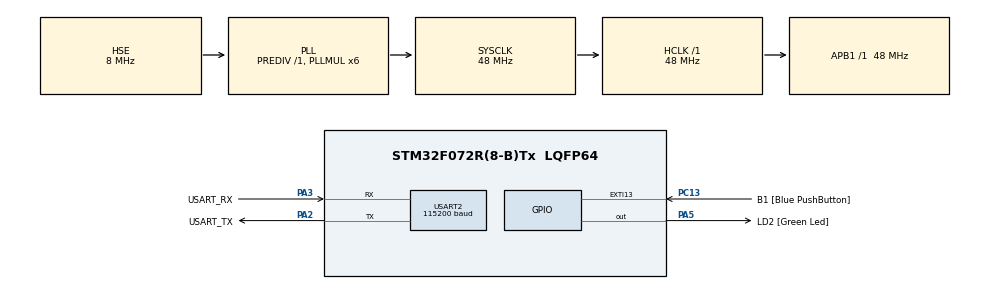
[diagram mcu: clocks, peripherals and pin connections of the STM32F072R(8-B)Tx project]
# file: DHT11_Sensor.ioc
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Mcu.Family=STM32F0
Mcu.Name=STM32F072R(8-B)Tx
Mcu.Package=LQFP64
PA13.GPIO_Label=TMS
PA13.Mode=Serial_Wire
PA13.Signal=SYS_SWDIO
PA14.GPIO_Label=TCK
PA14.Mode=Serial_Wire
PA14.Signal=SYS_SWCLK
PA2.GPIO_Label=USART_TX
PA2.GPIO_Mode=GPIO_MODE_AF_PP
PA2.GPIO_PuPd=GPIO_NOPULL
PA2.GPIO_Speed=GPIO_SPEED_FREQ_LOW
PA2.Mode=Asynchronous
PA2.Signal=USART2_TX
PA3.GPIO_Label=USART_RX
PA3.GPIO_Mode=GPIO_MODE_AF_PP
PA3.GPIO_PuPd=GPIO_NOPULL
PA3.GPIO_Speed=GPIO_SPEED_FREQ_LOW
PA3.Mode=Asynchronous
PA3.Signal=USART2_RX
PA5.GPIO_Label=LD2 [Green Led]
PA5.GPIO_Mode=GPIO_MODE_OUTPUT_PP
PA5.GPIO_PuPd=GPIO_NOPULL
PA5.GPIO_Speed=GPIO_SPEED_FREQ_LOW
PA5.Signal=GPIO_Output
PC13.GPIO_Label=B1 [Blue PushButton]
PC13.GPIO_ModeDefaultEXTI=GPIO_MODE_IT_FALLING
PC13.Signal=GPXTI13
PC14-OSC32_IN.Mode=LSE-External-Oscillator
PC14-OSC32_IN.Signal=RCC_OSC32_IN
PC15-OSC32_OUT.Mode=LSE-External-Oscillator
PC15-OSC32_OUT.Signal=RCC_OSC32_OUT
PF0-OSC_IN.Mode=HSE-External-Oscillator
PF0-OSC_IN.Signal=RCC_OSC_IN
PF1-OSC_OUT.Mode=HSE-External-Oscillator
PF1-OSC_OUT.Signal=RCC_OSC_OUT
ProjectManager.HeapSize=0x200
ProjectManager.StackSize=0x400
ProjectManager.TargetToolchain=STM32CubeIDE
RCC.AHBFreq_Value=48000000
RCC.APB1Freq_Value=48000000
RCC.APB1TimFreq_Value=48000000
RCC.FLatency-AdvancedSettings=FLASH_LATENCY_1
RCC.HCLKFreq_Value=48000000
RCC.PLLMUL=RCC_PLL_MUL6
RCC.PLLSourceVirtual=RCC_PLLSOURCE_HSE
RCC.PREFETCH_ENABLE-AdvancedSettings=1
RCC.SYSCLKFreq_VALUE=48000000
RCC.SYSCLKSource=RCC_SYSCLKSOURCE_PLLCLK
USART2.BaudRate=115200
USART2.VirtualMode=VM_ASYNC
USART2.VirtualMode-Asynchronous=VM_ASYNC
VP_TIM6_VS_ClockSourceINT.Mode=Enable_Timer
board=NUCLEO-F072RB

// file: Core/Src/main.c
/* USER CODE BEGIN Header */
/**
  ******************************************************************************
  * @file           : main.c
  * @brief          : Main program body
  ******************************************************************************
  * @attention
  *
  * Copyright (c) 2024 STMicroelectronics.
  * All rights reserved.
  *
  * This software is licensed under terms that can be found in the LICENSE file
  * in the root directory of this software component.
  * If no LICENSE file comes with this software, it is provided AS-IS.
  *
  ******************************************************************************
  */
/* USER CODE END Header */
#include "main.h"

/* USER CODE BEGIN Includes */
#include "stdio.h"
#include "string.h"
#include "dht11.h"
#include "Timer_Delay.h"
/* USER CODE END Includes */

TIM_HandleTypeDef htim6;

UART_HandleTypeDef huart2;

void SystemClock_Config(void);
static void MX_GPIO_Init(void);
static void MX_USART2_UART_Init(void);
static void MX_TIM6_Init(void);
/* USER CODE BEGIN PFP */

#define PUTCHAR_PROTOTYPE int __io_putchar(int ch)             /* For Printf & Scanf */
#define GETCHAR_PROTOTYPE int __io_getchar(void)

PUTCHAR_PROTOTYPE {
    HAL_UART_Transmit(&huart2, (uint8_t *)&ch, 1, HAL_MAX_DELAY);
    return ch;
}

GETCHAR_PROTOTYPE {
    uint8_t ch = 0;
    __HAL_UART_CLEAR_OREFLAG(&huart2);
    HAL_UART_Receive(&huart2, (uint8_t *)&ch, 1, HAL_MAX_DELAY);
    HAL_UART_Transmit(&huart2, (uint8_t *)&ch, 1, HAL_MAX_DELAY);
    return ch;
}

/* USER CODE END PFP */

int main(void)
{

  /* USER CODE BEGIN 1 */
	setvbuf(stdin, NULL, _IONBF, 0);     /* For Printf & Scanf */

	uint16_t temp=0, humid=0;
	dht11_status_t ret;

  /* USER CODE END 1 */

  /* MCU Configuration--------------------------------------------------------*/

  /* Reset of all peripherals, Initializes the Flash interface and the Systick. */
  HAL_Init();

  /* Configure the system clock */
  SystemClock_Config();

  /* Initialize all configured peripherals */
  MX_GPIO_Init();
  MX_USART2_UART_Init();
  MX_TIM6_Init();                     /* Timer */
  /* USER CODE BEGIN 2 */
  TimerDelay_Init();                  /* For Delay */
  printf("DHT11_Sensor_Start\r\n");
  /* USER CODE END 2 */

  /* Infinite loop */
  while (1)
  {

    /* USER CODE BEGIN 3 */
	  ret = read_dht11_sensor(&temp, &humid);
	  if(ret==DHT11_OK)
	  {
		   printf("\r\nTemperature : %.2f°C   Humidity : %d%%\r\n",(temp/100.0),(humid/100));
	  }
	  else
	  {
		  printf("Transmission Error\r\n");
	  }
	  HAL_Delay(2500);
  }
  /* USER CODE END 3 */
}

void SystemClock_Config(void)
{
  RCC_OscInitTypeDef RCC_OscInitStruct = {0};
  RCC_ClkInitTypeDef RCC_ClkInitStruct = {0};
  RCC_PeriphCLKInitTypeDef PeriphClkInit = {0};

  /** Initializes the RCC Oscillators according to the specified parameters
  * in the RCC_OscInitTypeDef structure.
  */
  RCC_OscInitStruct.OscillatorType = RCC_OSCILLATORTYPE_HSE;
  RCC_OscInitStruct.HSEState = RCC_HSE_ON;
  RCC_OscInitStruct.PLL.PLLState = RCC_PLL_ON;
  RCC_OscInitStruct.PLL.PLLSource = RCC_PLLSOURCE_HSE;
  RCC_OscInitStruct.PLL.PLLMUL = RCC_PLL_MUL6;
  RCC_OscInitStruct.PLL.PREDIV = RCC_PREDIV_DIV1;
  if (HAL_RCC_OscConfig(&RCC_OscInitStruct) != HAL_OK)
  {
    Error_Handler();
  }
  /** Initializes the CPU, AHB and APB buses clocks
  */
  RCC_ClkInitStruct.ClockType = RCC_CLOCKTYPE_HCLK|RCC_CLOCKTYPE_SYSCLK
                              |RCC_CLOCKTYPE_PCLK1;
  RCC_ClkInitStruct.SYSCLKSource = RCC_SYSCLKSOURCE_PLLCLK;
  RCC_ClkInitStruct.AHBCLKDivider = RCC_SYSCLK_DIV1;
  RCC_ClkInitStruct.APB1CLKDivider = RCC_HCLK_DIV1;

  if (HAL_RCC_ClockConfig(&RCC_ClkInitStruct, FLASH_LATENCY_1) != HAL_OK)
  {
    Error_Handler();
  }
  PeriphClkInit.PeriphClockSelection = RCC_PERIPHCLK_USART2;
  PeriphClkInit.Usart2ClockSelection = RCC_USART2CLKSOURCE_PCLK1;
  if (HAL_RCCEx_PeriphCLKConfig(&PeriphClkInit) != HAL_OK)
  {
    Error_Handler();
  }
}

static void MX_TIM6_Init(void)
{

  TIM_MasterConfigTypeDef sMasterConfig = {0};

  htim6.Instance = TIM6;
  htim6.Init.Prescaler = 0;
  htim6.Init.CounterMode = TIM_COUNTERMODE_UP;
  htim6.Init.Period = 65535;
  htim6.Init.AutoReloadPreload = TIM_AUTORELOAD_PRELOAD_DISABLE;
  if (HAL_TIM_Base_Init(&htim6) != HAL_OK)
  {
    Error_Handler();
  }
  sMasterConfig.MasterOutputTrigger = TIM_TRGO_RESET;
  sMasterConfig.MasterSlaveMode = TIM_MASTERSLAVEMODE_DISABLE;
  if (HAL_TIMEx_MasterConfigSynchronization(&htim6, &sMasterConfig) != HAL_OK)
  {
    Error_Handler();
  }

}

static void MX_USART2_UART_Init(void)
{

  huart2.Instance = USART2;
  huart2.Init.BaudRate = 115200;
  huart2.Init.WordLength = UART_WORDLENGTH_8B;
  huart2.Init.StopBits = UART_STOPBITS_1;
  huart2.Init.Parity = UART_PARITY_NONE;
  huart2.Init.Mode = UART_MODE_TX_RX;
  huart2.Init.HwFlowCtl = UART_HWCONTROL_NONE;
  huart2.Init.OverSampling = UART_OVERSAMPLING_16;
  huart2.Init.OneBitSampling = UART_ONE_BIT_SAMPLE_DISABLE;
  huart2.AdvancedInit.AdvFeatureInit = UART_ADVFEATURE_NO_INIT;
  if (HAL_UART_Init(&huart2) != HAL_OK)
  {
    Error_Handler();
  }

}

static void MX_GPIO_Init(void)
{
  GPIO_InitTypeDef GPIO_InitStruct = {0};

  /* GPIO Ports Clock Enable */
  __HAL_RCC_GPIOC_CLK_ENABLE();
  __HAL_RCC_GPIOF_CLK_ENABLE();
  __HAL_RCC_GPIOA_CLK_ENABLE();

  /*Configure GPIO pin Output Level */
  HAL_GPIO_WritePin(LD2_GPIO_Port, LD2_Pin, GPIO_PIN_RESET);

  /*Configure GPIO pin : B1_Pin */
  GPIO_InitStruct.Pin = B1_Pin;
  GPIO_InitStruct.Mode = GPIO_MODE_IT_FALLING;
  GPIO_InitStruct.Pull = GPIO_NOPULL;
  HAL_GPIO_Init(B1_GPIO_Port, &GPIO_InitStruct);

  /*Configure GPIO pin : LD2_Pin */
  GPIO_InitStruct.Pin = LD2_Pin;
  GPIO_InitStruct.Mode = GPIO_MODE_OUTPUT_PP;
  GPIO_InitStruct.Pull = GPIO_NOPULL;
  GPIO_InitStruct.Speed = GPIO_SPEED_FREQ_LOW;
  HAL_GPIO_Init(LD2_GPIO_Port, &GPIO_InitStruct);

}

void Error_Handler(void)
{
  __disable_irq();
  while (1)
  {
  }
}
